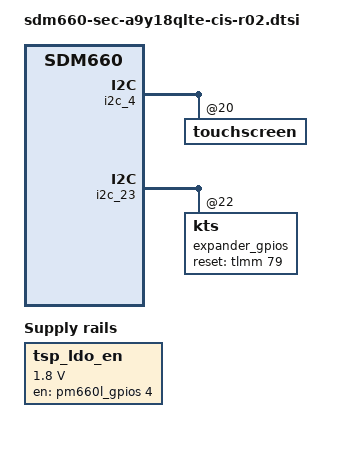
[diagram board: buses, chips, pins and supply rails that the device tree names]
/*
 * Copyright (c) 2017, The Linux Foundation. All rights reserved.
 *
 * This program is free software; you can redistribute it and/or modify
 * it under the terms of the GNU General Public License version 2 and
 * only version 2 as published by the Free Software Foundation.
 *
 * This program is distributed in the hope that it will be useful,
 * but WITHOUT ANY WARRANTY; without even the implied warranty of
 * MERCHANTABILITY or FITNESS FOR A PARTICULAR PURPOSE.  See the
 * GNU General Public License for more details.
 */




#include "sdm660-sec-a9y18qlte-common.dtsi"
#include "sdm660-sec-a9y18qlte-sensor-r00.dtsi"

&i2c_4 {
	touchscreen@20 {
		zinitix,regulator_avdd = "tsp_ldo_en";
	};
};

&soc {
	/* not use ufs */
	/delete-node/ ufsphy@1da7000;
	/delete-node/ ufshc@1da4000;
	/delete-node/ ufsice@1db0000;

	i2c_23: i2c@23 {
		expander_gpios: kts@22 {
			kts,reset-gpio = <&tlmm 79 0>;
		};
	};

	tsp_ldo_en {
		compatible = "regulator-fixed";
		regulator-name = "tsp_ldo_en";
		regulator-min-microvolt = <1800000>;
		regulator-max-microvolt = <1800000>;
		gpio = <&pm660l_gpios 4 0>;
		enable-active-high;
		regulator-boot-on;
	};
};

&firmware {
	android {
		fstab {
			odm {
				dev = "/dev/block/platform/soc/c0c4000.sdhci/by-name/odm";
			};
			system {
				dev = "/dev/block/platform/soc/c0c4000.sdhci/by-name/system";
			};
			vendor {
				dev = "/dev/block/platform/soc/c0c4000.sdhci/by-name/vendor";
			};
		};
	};
};
